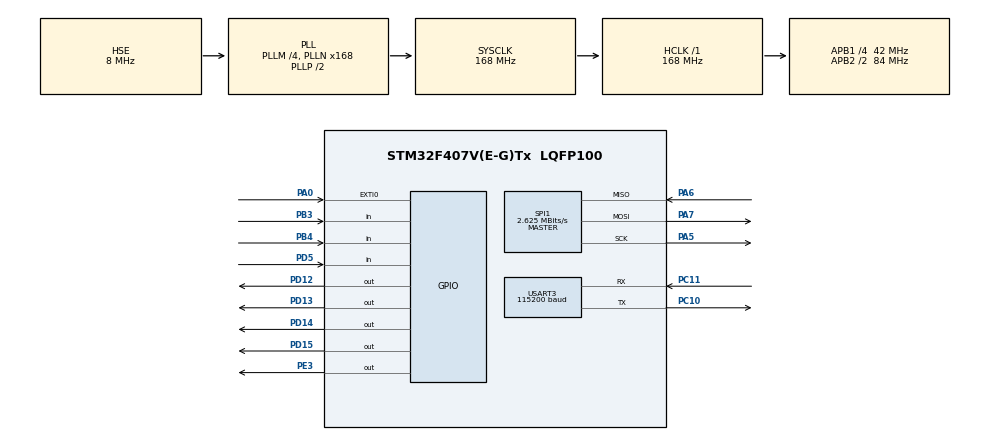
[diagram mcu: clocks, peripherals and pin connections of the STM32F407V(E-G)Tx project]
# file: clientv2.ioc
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Mcu.Family=STM32F4
Mcu.Name=STM32F407V(E-G)Tx
Mcu.Package=LQFP100
NVIC.EXTI0_IRQn=true\:0\:0\:false\:false\:true\:true
NVIC.PriorityGroup=NVIC_PRIORITYGROUP_4
NVIC.TIM3_IRQn=true\:0\:0\:false\:false\:true\:true
NVIC.USART3_IRQn=true\:0\:0\:false\:false\:true\:true
PA0-WKUP.Signal=GPXTI0
PA5.Mode=Full_Duplex_Master
PA5.Signal=SPI1_SCK
PA6.Mode=Full_Duplex_Master
PA6.Signal=SPI1_MISO
PA7.Mode=Full_Duplex_Master
PA7.Signal=SPI1_MOSI
PB3.GPIO_PuPd=GPIO_PULLUP
PB3.Signal=GPIO_Input
PB4.GPIO_PuPd=GPIO_PULLUP
PB4.Signal=GPIO_Input
PC10.Mode=Asynchronous
PC10.Signal=USART3_TX
PC11.Mode=Asynchronous
PC11.Signal=USART3_RX
PD12.Signal=GPIO_Output
PD13.Signal=GPIO_Output
PD14.Signal=GPIO_Output
PD15.Signal=GPIO_Output
PD5.GPIO_PuPd=GPIO_PULLUP
PD5.Signal=GPIO_Input
PE3.Signal=GPIO_Output
PH0-OSC_IN.Mode=HSE-External-Oscillator
PH0-OSC_IN.Signal=RCC_OSC_IN
PH1-OSC_OUT.Mode=HSE-External-Oscillator
PH1-OSC_OUT.Signal=RCC_OSC_OUT
ProjectManager.HeapSize=0x200
ProjectManager.StackSize=0x400
ProjectManager.TargetToolchain=SW4STM32
RCC.48MHZClocksFreq_Value=84000000
RCC.AHBFreq_Value=168000000
RCC.APB1CLKDivider=RCC_HCLK_DIV4
RCC.APB1Freq_Value=42000000
RCC.APB1TimFreq_Value=84000000
RCC.APB2CLKDivider=RCC_HCLK_DIV2
RCC.APB2Freq_Value=84000000
RCC.APB2TimFreq_Value=168000000
RCC.CortexFreq_Value=168000000
RCC.HCLKFreq_Value=168000000
RCC.HSE_VALUE=8000000
RCC.HSI_VALUE=16000000
RCC.LSE_VALUE=32768
RCC.PLLM=4
RCC.PLLN=168
RCC.PLLSourceVirtual=RCC_PLLSOURCE_HSE
RCC.SYSCLKFreq_VALUE=168000000
RCC.SYSCLKSource=RCC_SYSCLKSOURCE_PLLCLK
RCC.VCOOutputFreq_Value=336000000
SPI1.BaudRatePrescaler=SPI_BAUDRATEPRESCALER_32
SPI1.CalculateBaudRate=2.625 MBits/s
SPI1.Direction=SPI_DIRECTION_2LINES
SPI1.Mode=SPI_MODE_MASTER
SPI1.VirtualType=VM_MASTER
TIM3.Period=999
TIM3.Prescaler=4199
USART3.BaudRate=115200
USART3.VirtualMode=VM_ASYNC
VP_TIM3_VS_ClockSourceINT.Mode=Internal
board=custom

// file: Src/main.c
/**
  ******************************************************************************
  * @file           : main.c
  * @brief          : Main program body
  ******************************************************************************
  ** This notice applies to any and all portions of this file
  * that are not between comment pairs USER CODE BEGIN and
  * USER CODE END. Other portions of this file, whether
  * inserted by the user or by software development tools
  * are owned by their respective copyright owners.
  *
  * COPYRIGHT(c) 2019 STMicroelectronics
  *
  * Redistribution and use in source and binary forms, with or without modification,
  * are permitted provided that the following conditions are met:
  *   1. Redistributions of source code must retain the above copyright notice,
  *      this list of conditions and the following disclaimer.
  *   2. Redistributions in binary form must reproduce the above copyright notice,
  *      this list of conditions and the following disclaimer in the documentation
  *      and/or other materials provided with the distribution.
  *   3. Neither the name of STMicroelectronics nor the names of its contributors
  *      may be used to endorse or promote products derived from this software
  *      without specific prior written permission.
  *
  * THIS SOFTWARE IS PROVIDED BY THE COPYRIGHT HOLDERS AND CONTRIBUTORS "AS IS"
  * AND ANY EXPRESS OR IMPLIED WARRANTIES, INCLUDING, BUT NOT LIMITED TO, THE
  * IMPLIED WARRANTIES OF MERCHANTABILITY AND FITNESS FOR A PARTICULAR PURPOSE ARE
  * DISCLAIMED. IN NO EVENT SHALL THE COPYRIGHT HOLDER OR CONTRIBUTORS BE LIABLE
  * FOR ANY DIRECT, INDIRECT, INCIDENTAL, SPECIAL, EXEMPLARY, OR CONSEQUENTIAL
  * DAMAGES (INCLUDING, BUT NOT LIMITED TO, PROCUREMENT OF SUBSTITUTE GOODS OR
  * SERVICES; LOSS OF USE, DATA, OR PROFITS; OR BUSINESS INTERRUPTION) HOWEVER
  * CAUSED AND ON ANY THEORY OF LIABILITY, WHETHER IN CONTRACT, STRICT LIABILITY,
  * OR TORT (INCLUDING NEGLIGENCE OR OTHERWISE) ARISING IN ANY WAY OUT OF THE USE
  * OF THIS SOFTWARE, EVEN IF ADVISED OF THE POSSIBILITY OF SUCH DAMAGE.
  *
  ******************************************************************************
  */
#include "main.h"
#include "stm32f4xx_hal.h"

/* USER CODE BEGIN Includes */
#include "lis3dsh.h"
#include <string.h>
#include <stdlib.h>

#define littleFinger 0x1
#define cordialFinger 0x2
#define middleFinger 0x4
#define pointFinger 0x8

#define debug_play 0x1
#define debug_display 0x2
#define debug_play_again 0x3
#define debug_display_accept 0x4

/* USER CODE END Includes */

SPI_HandleTypeDef hspi1;

TIM_HandleTypeDef htim3;

UART_HandleTypeDef huart3;

/* USER CODE BEGIN PV */
/* Private variables ---------------------------------------------------------*/

float accX, accY, accZ, out[4];
float gravityAcc = 0;

int hold = 0;
int startShaking = 0;

int debugModeSet = 0;
int debugModeState = 0;
int debug_counter = 0;

uint8_t* sendUART;
uint16_t sizeSendUART;
uint8_t receiveUART[128];
uint16_t sizeReceiveUART = 128;

uint8_t byte;

int pos = 0;
int state = 0;
int wait = 80;
int bufor_wait = 0;
int force = 0;
int bufor_reload = 0;

int8_t dataOfHowManyFingersAreClosed = 0x0;
/* USER CODE END PV */

void SystemClock_Config(void);
static void MX_GPIO_Init(void);
static void MX_USART3_UART_Init(void);
static void MX_TIM3_Init(void);
static void MX_SPI1_Init(void);

/* USER CODE BEGIN PFP */
/* Private function prototypes -----------------------------------------------*/

void HAL_UART_RxCpltCallback(UART_HandleTypeDef *huart)
{
  if (huart->Instance == USART3)
  {
    /* Receive one byte in interrupt mode */
    HAL_UART_Receive_IT(&huart3, &byte, 1);
    receiveUART[pos] = byte;
    pos++;
    if(pos == sizeReceiveUART)
    	pos = 0;
  }
}

int returnSizeSemiColonGuardianNeeded(uint8_t* tab)
{
	int size = 0;
	for(;; size++)
	{
		if(tab[size] == ';')
			return size;
	}

	return 0;
}

void send()
{
	sizeSendUART = returnSizeSemiColonGuardianNeeded(sendUART);
	HAL_UART_Transmit_IT(&huart3,sendUART,sizeSendUART);
}

inline void test()
{
	sendUART = (uint8_t*)"AT\r\n;";
	send();
}

inline void setMode()
{
	sendUART = (uint8_t*)"AT+CWMODE=1\r\n;";
	send();
}

inline void connectToWiFi()
{
	sendUART = (uint8_t*)"AT+CWJAP=\"XPERIA5ESP\",\"12345678\"\r\n;";
	send();
}

inline void connectToServer()
{
	sendUART = (uint8_t*)"AT+CIPSTART=\"TCP\",\"192.168.43.1\",1337\r\n;";
	send();
}

inline void prepareToSendData()
{
	sendUART = (uint8_t*)"AT+CIPSEND=1\r\n;";
	send();
}

void sendSpecial(uint8_t* sender)
{
	sizeSendUART = returnSizeSemiColonGuardianNeeded(sender);
	HAL_UART_Transmit_IT(&huart3,sender,sizeSendUART);
}

inline void sendData()
{

	uint8_t* sender = (uint8_t*)malloc(2*sizeof(uint8_t));
	*sender = dataOfHowManyFingersAreClosed;
	*(sender + 1) = 59;
	sendSpecial(sender);
	free(sender);
}

void setDiodeNr0()
{

	HAL_GPIO_WritePin(GPIOD, GPIO_PIN_12, GPIO_PIN_RESET);
	HAL_GPIO_WritePin(GPIOD, GPIO_PIN_13, GPIO_PIN_RESET);
	HAL_GPIO_WritePin(GPIOD, GPIO_PIN_14, GPIO_PIN_RESET);
	HAL_GPIO_WritePin(GPIOD, GPIO_PIN_15, GPIO_PIN_RESET);
}

void setDiodeNr1()
{
	HAL_GPIO_WritePin(GPIOD, GPIO_PIN_12, GPIO_PIN_SET);
	HAL_GPIO_WritePin(GPIOD, GPIO_PIN_13, GPIO_PIN_RESET);
	HAL_GPIO_WritePin(GPIOD, GPIO_PIN_14, GPIO_PIN_RESET);
	HAL_GPIO_WritePin(GPIOD, GPIO_PIN_15, GPIO_PIN_RESET);
}

void setDiodeNr2()
{
	HAL_GPIO_WritePin(GPIOD, GPIO_PIN_12, GPIO_PIN_RESET);
	HAL_GPIO_WritePin(GPIOD, GPIO_PIN_13, GPIO_PIN_SET);
	HAL_GPIO_WritePin(GPIOD, GPIO_PIN_14, GPIO_PIN_RESET);
	HAL_GPIO_WritePin(GPIOD, GPIO_PIN_15, GPIO_PIN_RESET);
}

void setDiodeNr3()
{

	HAL_GPIO_WritePin(GPIOD, GPIO_PIN_12, GPIO_PIN_SET);
	HAL_GPIO_WritePin(GPIOD, GPIO_PIN_13, GPIO_PIN_SET);
	HAL_GPIO_WritePin(GPIOD, GPIO_PIN_14, GPIO_PIN_RESET);
	HAL_GPIO_WritePin(GPIOD, GPIO_PIN_15, GPIO_PIN_RESET);
}

void setDiodeNr4()
{

	HAL_GPIO_WritePin(GPIOD, GPIO_PIN_12, GPIO_PIN_RESET);
	HAL_GPIO_WritePin(GPIOD, GPIO_PIN_13, GPIO_PIN_RESET);
	HAL_GPIO_WritePin(GPIOD, GPIO_PIN_14, GPIO_PIN_SET);
	HAL_GPIO_WritePin(GPIOD, GPIO_PIN_15, GPIO_PIN_RESET);
}

void setDiodeNr5()
{

	HAL_GPIO_WritePin(GPIOD, GPIO_PIN_12, GPIO_PIN_SET);
	HAL_GPIO_WritePin(GPIOD, GPIO_PIN_13, GPIO_PIN_RESET);
	HAL_GPIO_WritePin(GPIOD, GPIO_PIN_14, GPIO_PIN_SET);
	HAL_GPIO_WritePin(GPIOD, GPIO_PIN_15, GPIO_PIN_RESET);
}

void setDiodeNr6()
{
	HAL_GPIO_WritePin(GPIOD, GPIO_PIN_12, GPIO_PIN_RESET);
	HAL_GPIO_WritePin(GPIOD, GPIO_PIN_13, GPIO_PIN_SET);
	HAL_GPIO_WritePin(GPIOD, GPIO_PIN_14, GPIO_PIN_SET);
	HAL_GPIO_WritePin(GPIOD, GPIO_PIN_15, GPIO_PIN_RESET);
}

void setDiodeNr7()
{
	HAL_GPIO_WritePin(GPIOD, GPIO_PIN_12, GPIO_PIN_SET);
	HAL_GPIO_WritePin(GPIOD, GPIO_PIN_13, GPIO_PIN_SET);
	HAL_GPIO_WritePin(GPIOD, GPIO_PIN_14, GPIO_PIN_SET);
	HAL_GPIO_WritePin(GPIOD, GPIO_PIN_15, GPIO_PIN_RESET);
}

void setDiodeNr8()
{
	HAL_GPIO_WritePin(GPIOD, GPIO_PIN_12, GPIO_PIN_RESET);
	HAL_GPIO_WritePin(GPIOD, GPIO_PIN_13, GPIO_PIN_RESET);
	HAL_GPIO_WritePin(GPIOD, GPIO_PIN_14, GPIO_PIN_RESET);
	HAL_GPIO_WritePin(GPIOD, GPIO_PIN_15, GPIO_PIN_SET);
}
void setDiodeNr9()
{
	HAL_GPIO_WritePin(GPIOD, GPIO_PIN_12, GPIO_PIN_SET);
	HAL_GPIO_WritePin(GPIOD, GPIO_PIN_13, GPIO_PIN_RESET);
	HAL_GPIO_WritePin(GPIOD, GPIO_PIN_14, GPIO_PIN_RESET);
	HAL_GPIO_WritePin(GPIOD, GPIO_PIN_15, GPIO_PIN_SET);
}
void setDiodeNr10()
{
	HAL_GPIO_WritePin(GPIOD, GPIO_PIN_12, GPIO_PIN_RESET);
	HAL_GPIO_WritePin(GPIOD, GPIO_PIN_13, GPIO_PIN_SET);
	HAL_GPIO_WritePin(GPIOD, GPIO_PIN_14, GPIO_PIN_RESET);
	HAL_GPIO_WritePin(GPIOD, GPIO_PIN_15, GPIO_PIN_SET);
}
void setDiodeNr11()
{
	HAL_GPIO_WritePin(GPIOD, GPIO_PIN_12, GPIO_PIN_SET);
	HAL_GPIO_WritePin(GPIOD, GPIO_PIN_13, GPIO_PIN_SET);
	HAL_GPIO_WritePin(GPIOD, GPIO_PIN_14, GPIO_PIN_RESET);
	HAL_GPIO_WritePin(GPIOD, GPIO_PIN_15, GPIO_PIN_SET);
}
void setDiodeNr12()
{
	HAL_GPIO_WritePin(GPIOD, GPIO_PIN_12, GPIO_PIN_RESET);
	HAL_GPIO_WritePin(GPIOD, GPIO_PIN_13, GPIO_PIN_RESET);
	HAL_GPIO_WritePin(GPIOD, GPIO_PIN_14, GPIO_PIN_SET);
	HAL_GPIO_WritePin(GPIOD, GPIO_PIN_15, GPIO_PIN_SET);
}
void setDiodeNr13()
{
	HAL_GPIO_WritePin(GPIOD, GPIO_PIN_12, GPIO_PIN_SET);
	HAL_GPIO_WritePin(GPIOD, GPIO_PIN_13, GPIO_PIN_RESET);
	HAL_GPIO_WritePin(GPIOD, GPIO_PIN_14, GPIO_PIN_SET);
	HAL_GPIO_WritePin(GPIOD, GPIO_PIN_15, GPIO_PIN_SET);

}
void setDiodeNr14()
{
	HAL_GPIO_WritePin(GPIOD, GPIO_PIN_12, GPIO_PIN_RESET);
	HAL_GPIO_WritePin(GPIOD, GPIO_PIN_13, GPIO_PIN_SET);
	HAL_GPIO_WritePin(GPIOD, GPIO_PIN_14, GPIO_PIN_SET);
	HAL_GPIO_WritePin(GPIOD, GPIO_PIN_15, GPIO_PIN_SET);

}
void setDiodeNr15()
{
	HAL_GPIO_WritePin(GPIOD, GPIO_PIN_12, GPIO_PIN_SET);
	HAL_GPIO_WritePin(GPIOD, GPIO_PIN_13, GPIO_PIN_SET);
	HAL_GPIO_WritePin(GPIOD, GPIO_PIN_14, GPIO_PIN_SET);
	HAL_GPIO_WritePin(GPIOD, GPIO_PIN_15, GPIO_PIN_SET);
}

void call()
{

	if(state == 4)
	{
		dataOfHowManyFingersAreClosed = 0x10;

		if(HAL_GPIO_ReadPin(GPIOD, GPIO_PIN_5) == GPIO_PIN_RESET)
		{
			dataOfHowManyFingersAreClosed += cordialFinger;
		}

		if(HAL_GPIO_ReadPin(GPIOB, GPIO_PIN_3) == GPIO_PIN_RESET)
		{
			dataOfHowManyFingersAreClosed += middleFinger;
		}

		if(HAL_GPIO_ReadPin(GPIOB, GPIO_PIN_4) == GPIO_PIN_RESET)
		{
			dataOfHowManyFingersAreClosed += pointFinger;
		}

		prepareToSendData();
		setDiodeNr6();
		state = 5;

	}
}

void HAL_GPIO_EXTI_Callback(uint16_t GPIO_Pin)
{
	debugModeState++;

	switch(debugModeState)
	{
		case debug_play:
		{
			setDiodeNr1();
		}break;

		case debug_display:
		{
			setDiodeNr2();
		}break;

		case debug_play_again:
		{
			setDiodeNr4();
		}break;

		default:
		{
			debugModeState = debug_play;
			setDiodeNr1();
		}break;

	}

	//call();
	debugModeSet = 1;

	debug_counter = 0;

}

inline void callBack()
{
	   	   	   if(state == 5)
	    	   {
					sendData();
					state = 6;
					setDiodeNr8();
	    	   }
	    	   if(state == 4)
	    	   {
	    		   float accState = sqrt(accX*accX + accY*accY + accZ*accZ);

	    		   if(!startShaking)
					   if(accState > gravityAcc*1.8)
					   {
						   startShaking = 1;
						   setDiodeNr10();
					   }

	    		   if(startShaking)
	    		   {
					   if(accState < gravityAcc*1.3 && accState > gravityAcc*0.6)
					   {
						   hold++;
					   }

					   if(hold > 20)
					   {
						   setDiodeNr12();
						   call();
					   }
	    		   }
	    		   //Tutaj bêdzie sprawdzane ruszanie rêk¹ i jego brak
	    	   }
	    	   if(wait == bufor_wait && state < 4)
	    	   {
	    		   bufor_wait = 0;
	    		   bufor_reload++;
	    		   if(strstr(receiveUART,"OK") != NULL)
	        	   {
	    			   memset(receiveUART,0,sizeReceiveUART);
	        		   state++;
	        		   force = 1;

	    			   pos = 0;
	        	   }else if((strstr(receiveUART,"ERROR") || strstr(receiveUART,"FAIL")) && state != 5)
	    		   {
	    			   memset(receiveUART,0,sizeReceiveUART);
	        		   pos = 0;
	        		   force = 1;
	    		   }

	    		   if(force || bufor_reload == 2)
	    		   {
	    			   force = 0;
	    			   bufor_reload = 0;
						switch(state)
						{
							case 0:
							{
								test();
								setDiodeNr1();
							}break;

							case 1:
							{
								gravityAcc = sqrt(accX*accX + accY*accY + accZ*accZ);
								setMode();
								setDiodeNr2();
							}break;

							case 2:
							{
								connectToWiFi();
								setDiodeNr3();
							}break;

							case 3:
							{
								connectToServer();
								setDiodeNr4();
							}break;

							case 4:
							{
								setDiodeNr5();
							}break;

						}
	    		   }

	    	   }else
	    	   {
	    		   bufor_wait++;
	    	   }

}

inline void debug_callBack()
{
	switch(debugModeState)
	{
		case debug_play:
		{
			debugModeSet = 0;
			state = 0;
		}break;

		case debug_display:
		{
			debugModeState = debug_display_accept;
		} break;

		case debug_play_again:
		{
			debugModeSet = 0;
			state = 4;
		} break;

		default:
		{
			debugModeSet = 0;
			state = 0;
		} break;

	}
}

void HAL_TIM_PeriodElapsedCallback(TIM_HandleTypeDef *htim)
{
       if(htim->Instance == TIM3)
       {

    	   if(debugModeSet == 0)
    	   {
    		   callBack();
    	   }else
    	   {
    		   debug_counter++;
    	   }

    	   if(debug_counter == 20)
    	   {
    		   debug_callBack();
    	   }

    	   //kod do wykonania w momencie przepelnienia timera
       }
}

/* USER CODE END PFP */

int main(void)
{

  /* MCU Configuration----------------------------------------------------------*/

  /* Reset of all peripherals, Initializes the Flash interface and the Systick. */
  HAL_Init();

  /* Configure the system clock */
  SystemClock_Config();

  /* Initialize all configured peripherals */
  MX_GPIO_Init();
  MX_USART3_UART_Init();
  MX_TIM3_Init();
  MX_SPI1_Init();
  /* USER CODE BEGIN 2 */

  LISInit();

  HAL_UART_IRQHandler(&huart3);
  HAL_TIM_Base_Start_IT(&htim3);

  HAL_UART_Receive_IT(&huart3, &byte, 1);

  /* USER CODE END 2 */

  /* Infinite loop */
  /* USER CODE BEGIN WHILE */
  while (1)
  {

	  LIS3DSH_ReadACC(out);
	  accX = out[0];
	  accY = out[1];
	  accZ = out[2];

	  if(debugModeState == debug_display_accept)
	  {
			if(HAL_GPIO_ReadPin(GPIOD, GPIO_PIN_5) == GPIO_PIN_RESET)
			{
				setDiodeNr2();
			}else if(HAL_GPIO_ReadPin(GPIOB, GPIO_PIN_3) == GPIO_PIN_RESET)
			{
				setDiodeNr4();
			}else if(HAL_GPIO_ReadPin(GPIOB, GPIO_PIN_4) == GPIO_PIN_RESET)
			{
				setDiodeNr8();
			} else
			{
				setDiodeNr1();
			}
	  }
  /* USER CODE END WHILE */

  }

}

void SystemClock_Config(void)
{

  RCC_OscInitTypeDef RCC_OscInitStruct;
  RCC_ClkInitTypeDef RCC_ClkInitStruct;

    /**Configure the main internal regulator output voltage
    */
  __HAL_RCC_PWR_CLK_ENABLE();

  __HAL_PWR_VOLTAGESCALING_CONFIG(PWR_REGULATOR_VOLTAGE_SCALE1);

    /**Initializes the CPU, AHB and APB busses clocks
    */
  RCC_OscInitStruct.OscillatorType = RCC_OSCILLATORTYPE_HSE;
  RCC_OscInitStruct.HSEState = RCC_HSE_ON;
  RCC_OscInitStruct.PLL.PLLState = RCC_PLL_ON;
  RCC_OscInitStruct.PLL.PLLSource = RCC_PLLSOURCE_HSE;
  RCC_OscInitStruct.PLL.PLLM = 4;
  RCC_OscInitStruct.PLL.PLLN = 168;
  RCC_OscInitStruct.PLL.PLLP = RCC_PLLP_DIV2;
  RCC_OscInitStruct.PLL.PLLQ = 4;
  if (HAL_RCC_OscConfig(&RCC_OscInitStruct) != HAL_OK)
  {
    _Error_Handler(__FILE__, __LINE__);
  }

    /**Initializes the CPU, AHB and APB busses clocks
    */
  RCC_ClkInitStruct.ClockType = RCC_CLOCKTYPE_HCLK|RCC_CLOCKTYPE_SYSCLK
                              |RCC_CLOCKTYPE_PCLK1|RCC_CLOCKTYPE_PCLK2;
  RCC_ClkInitStruct.SYSCLKSource = RCC_SYSCLKSOURCE_PLLCLK;
  RCC_ClkInitStruct.AHBCLKDivider = RCC_SYSCLK_DIV1;
  RCC_ClkInitStruct.APB1CLKDivider = RCC_HCLK_DIV4;
  RCC_ClkInitStruct.APB2CLKDivider = RCC_HCLK_DIV2;

  if (HAL_RCC_ClockConfig(&RCC_ClkInitStruct, FLASH_LATENCY_5) != HAL_OK)
  {
    _Error_Handler(__FILE__, __LINE__);
  }

    /**Configure the Systick interrupt time
    */
  HAL_SYSTICK_Config(HAL_RCC_GetHCLKFreq()/1000);

    /**Configure the Systick
    */
  HAL_SYSTICK_CLKSourceConfig(SYSTICK_CLKSOURCE_HCLK);

  /* SysTick_IRQn interrupt configuration */
  HAL_NVIC_SetPriority(SysTick_IRQn, 0, 0);
}

/* SPI1 init function */
static void MX_SPI1_Init(void)
{

  /* SPI1 parameter configuration*/
  hspi1.Instance = SPI1;
  hspi1.Init.Mode = SPI_MODE_MASTER;
  hspi1.Init.Direction = SPI_DIRECTION_2LINES;
  hspi1.Init.DataSize = SPI_DATASIZE_8BIT;
  hspi1.Init.CLKPolarity = SPI_POLARITY_LOW;
  hspi1.Init.CLKPhase = SPI_PHASE_1EDGE;
  hspi1.Init.NSS = SPI_NSS_SOFT;
  hspi1.Init.BaudRatePrescaler = SPI_BAUDRATEPRESCALER_32;
  hspi1.Init.FirstBit = SPI_FIRSTBIT_MSB;
  hspi1.Init.TIMode = SPI_TIMODE_DISABLE;
  hspi1.Init.CRCCalculation = SPI_CRCCALCULATION_DISABLE;
  hspi1.Init.CRCPolynomial = 10;
  if (HAL_SPI_Init(&hspi1) != HAL_OK)
  {
    _Error_Handler(__FILE__, __LINE__);
  }

}

/* TIM3 init function */
static void MX_TIM3_Init(void)
{

  TIM_ClockConfigTypeDef sClockSourceConfig;
  TIM_MasterConfigTypeDef sMasterConfig;

  htim3.Instance = TIM3;
  htim3.Init.Prescaler = 4199;
  htim3.Init.CounterMode = TIM_COUNTERMODE_UP;
  htim3.Init.Period = 999;
  htim3.Init.ClockDivision = TIM_CLOCKDIVISION_DIV1;
  if (HAL_TIM_Base_Init(&htim3) != HAL_OK)
  {
    _Error_Handler(__FILE__, __LINE__);
  }

  sClockSourceConfig.ClockSource = TIM_CLOCKSOURCE_INTERNAL;
  if (HAL_TIM_ConfigClockSource(&htim3, &sClockSourceConfig) != HAL_OK)
  {
    _Error_Handler(__FILE__, __LINE__);
  }

  sMasterConfig.MasterOutputTrigger = TIM_TRGO_RESET;
  sMasterConfig.MasterSlaveMode = TIM_MASTERSLAVEMODE_DISABLE;
  if (HAL_TIMEx_MasterConfigSynchronization(&htim3, &sMasterConfig) != HAL_OK)
  {
    _Error_Handler(__FILE__, __LINE__);
  }

}

/* USART3 init function */
static void MX_USART3_UART_Init(void)
{

  huart3.Instance = USART3;
  huart3.Init.BaudRate = 115200;
  huart3.Init.WordLength = UART_WORDLENGTH_8B;
  huart3.Init.StopBits = UART_STOPBITS_1;
  huart3.Init.Parity = UART_PARITY_NONE;
  huart3.Init.Mode = UART_MODE_TX_RX;
  huart3.Init.HwFlowCtl = UART_HWCONTROL_NONE;
  huart3.Init.OverSampling = UART_OVERSAMPLING_16;
  if (HAL_UART_Init(&huart3) != HAL_OK)
  {
    _Error_Handler(__FILE__, __LINE__);
  }

}

/** Configure pins as
        * Analog
        * Input
        * Output
        * EVENT_OUT
        * EXTI
*/
static void MX_GPIO_Init(void)
{

  GPIO_InitTypeDef GPIO_InitStruct;

  /* GPIO Ports Clock Enable */
  __HAL_RCC_GPIOE_CLK_ENABLE();
  __HAL_RCC_GPIOH_CLK_ENABLE();
  __HAL_RCC_GPIOA_CLK_ENABLE();
  __HAL_RCC_GPIOD_CLK_ENABLE();
  __HAL_RCC_GPIOC_CLK_ENABLE();
  __HAL_RCC_GPIOB_CLK_ENABLE();

  /*Configure GPIO pin Output Level */
  HAL_GPIO_WritePin(GPIOE, GPIO_PIN_3, GPIO_PIN_RESET);

  /*Configure GPIO pin Output Level */
  HAL_GPIO_WritePin(GPIOD, GPIO_PIN_12|GPIO_PIN_13|GPIO_PIN_14|GPIO_PIN_15, GPIO_PIN_RESET);

  /*Configure GPIO pin : PE3 */
  GPIO_InitStruct.Pin = GPIO_PIN_3;
  GPIO_InitStruct.Mode = GPIO_MODE_OUTPUT_PP;
  GPIO_InitStruct.Pull = GPIO_NOPULL;
  GPIO_InitStruct.Speed = GPIO_SPEED_FREQ_LOW;
  HAL_GPIO_Init(GPIOE, &GPIO_InitStruct);

  /*Configure GPIO pin : PA0 */
  GPIO_InitStruct.Pin = GPIO_PIN_0;
  GPIO_InitStruct.Mode = GPIO_MODE_IT_RISING;
  GPIO_InitStruct.Pull = GPIO_NOPULL;
  HAL_GPIO_Init(GPIOA, &GPIO_InitStruct);

  /*Configure GPIO pins : PD12 PD13 PD14 PD15 */
  GPIO_InitStruct.Pin = GPIO_PIN_12|GPIO_PIN_13|GPIO_PIN_14|GPIO_PIN_15;
  GPIO_InitStruct.Mode = GPIO_MODE_OUTPUT_PP;
  GPIO_InitStruct.Pull = GPIO_NOPULL;
  GPIO_InitStruct.Speed = GPIO_SPEED_FREQ_LOW;
  HAL_GPIO_Init(GPIOD, &GPIO_InitStruct);

  /*Configure GPIO pin : PD5 */
  GPIO_InitStruct.Pin = GPIO_PIN_5;
  GPIO_InitStruct.Mode = GPIO_MODE_INPUT;
  GPIO_InitStruct.Pull = GPIO_PULLUP;
  HAL_GPIO_Init(GPIOD, &GPIO_InitStruct);

  /*Configure GPIO pins : PB3 PB4 */
  GPIO_InitStruct.Pin = GPIO_PIN_3|GPIO_PIN_4;
  GPIO_InitStruct.Mode = GPIO_MODE_INPUT;
  GPIO_InitStruct.Pull = GPIO_PULLUP;
  HAL_GPIO_Init(GPIOB, &GPIO_InitStruct);

  /* EXTI interrupt init*/
  HAL_NVIC_SetPriority(EXTI0_IRQn, 0, 0);
  HAL_NVIC_EnableIRQ(EXTI0_IRQn);

}

void _Error_Handler(char *file, int line)
{
  while(1)
  {
  }
}

/************************ (C) COPYRIGHT STMicroelectronics *****END OF FILE****/
